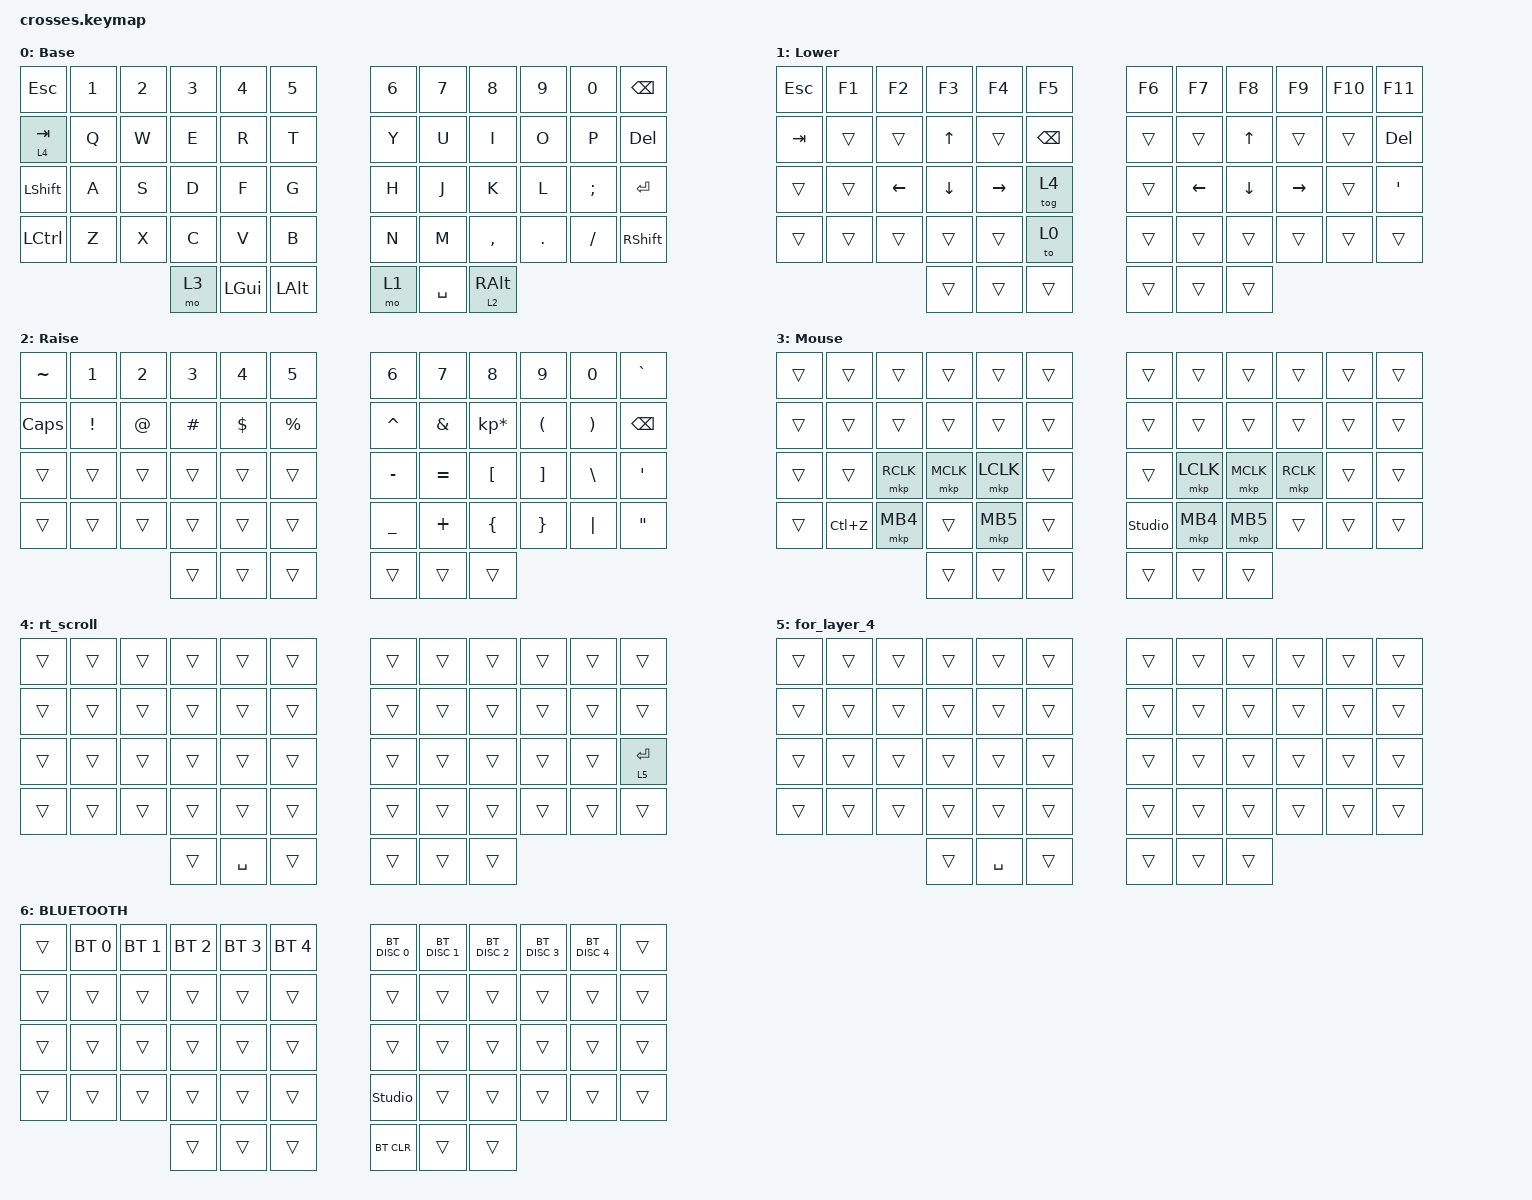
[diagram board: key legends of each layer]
#include <behaviors.dtsi>
#include <dt-bindings/zmk/bt.h>
#include <dt-bindings/zmk/keys.h>
#include <dt-bindings/zmk/pointing.h>

&lt {
    tapping-term-ms = <200>;
    flavor = "balanced";
    quick-tap-ms = <150>;
};

/ {
    chosen { zmk,physical-layout = &gggw_crosses_54_layout; };

    keymap {
        compatible = "zmk,keymap";

        default_layer {
            display-name = "Base";
            bindings = <
&kp ESCAPE  &kp N1  &kp N2  &kp N3  &kp N4        &kp N5        &kp N6  &kp N7     &kp N8           &kp N9   &kp N0    &kp BSPC
&lt 4 TAB   &kp Q   &kp W   &kp E   &kp R         &kp T         &kp Y   &kp U      &kp I            &kp O    &kp P     &kp DEL
&kp LSHFT   &kp A   &kp S   &kp D   &kp F         &kp G         &kp H   &kp J      &kp K            &kp L    &kp SEMI  &kp RET
&kp LCTRL   &kp Z   &kp X   &kp C   &kp V         &kp B         &kp N   &kp M      &kp COMMA        &kp DOT  &kp FSLH  &kp RSHFT
                            &mo 3   &kp LEFT_GUI  &kp LEFT_ALT  &mo 1   &kp SPACE  &lt 2 RIGHT_ALT
            >;
        };

        lower_layer {
            display-name = "Lower";
            bindings = <
&kp ESC  &kp F1  &kp F2    &kp F3    &kp F4     &kp F5         &kp F6  &kp F7    &kp F8    &kp F9     &kp F10  &kp F11
&kp TAB  &trans  &trans    &kp UP    &trans     &kp BACKSPACE  &trans  &trans    &kp UP    &trans     &trans   &kp DEL
&trans   &trans  &kp LEFT  &kp DOWN  &kp RIGHT  &tog 4         &trans  &kp LEFT  &kp DOWN  &kp RIGHT  &trans   &kp SQT
&trans   &trans  &trans    &trans    &trans     &to 0          &trans  &trans    &trans    &trans     &trans   &trans
                           &trans    &trans     &trans         &trans  &trans    &trans
            >;
        };

        raise_layer {
            display-name = "Raise";
            bindings = <
&kp TILDE  &kp N1    &kp N2  &kp N3    &kp N4    &kp N5     &kp N6     &kp N7     &kp N8           &kp N9    &kp N0    &kp GRAVE
&kp CAPS   &kp EXCL  &kp AT  &kp HASH  &kp DLLR  &kp PRCNT  &kp CARET  &kp AMPS   &kp KP_MULTIPLY  &kp LPAR  &kp RPAR  &kp BSPC
&trans     &trans    &trans  &trans    &trans    &trans     &kp MINUS  &kp EQUAL  &kp LBKT         &kp RBKT  &kp BSLH  &kp APOS
&trans     &trans    &trans  &trans    &trans    &trans     &kp UNDER  &kp PLUS   &kp LBRC         &kp RBRC  &kp PIPE  &kp DOUBLE_QUOTES
                             &trans    &trans    &trans     &trans     &trans     &trans
            >;
        };

        mouse_layer {
            display-name = "Mouse";
            bindings = <
&trans  &trans     &trans     &trans     &trans     &trans  &trans          &trans     &trans     &trans     &trans  &trans
&trans  &trans     &trans     &trans     &trans     &trans  &trans          &trans     &trans     &trans     &trans  &trans
&trans  &trans     &mkp RCLK  &mkp MCLK  &mkp LCLK  &trans  &trans          &mkp LCLK  &mkp MCLK  &mkp RCLK  &trans  &trans
&trans  &kp LC(Z)  &mkp MB4   &trans     &mkp MB5   &trans  &studio_unlock  &mkp MB4   &mkp MB5   &trans     &trans  &trans
                              &trans     &trans     &trans  &trans          &trans     &trans
            >;
        };

        rt_scroll {
            display-name = "rt_scroll";
            bindings = <
&trans  &trans  &trans  &trans  &trans     &trans  &trans  &trans  &trans  &trans  &trans  &trans
&trans  &trans  &trans  &trans  &trans     &trans  &trans  &trans  &trans  &trans  &trans  &trans
&trans  &trans  &trans  &trans  &trans     &trans  &trans  &trans  &trans  &trans  &trans  &lt 5 RET
&trans  &trans  &trans  &trans  &trans     &trans  &trans  &trans  &trans  &trans  &trans  &trans
                        &trans  &kp SPACE  &trans  &trans  &trans  &trans
            >;
        };

        temp_base {
            display-name = "for_layer_4";
            bindings = <
&trans  &trans  &trans  &trans  &trans     &trans  &trans  &trans  &trans  &trans  &trans  &trans
&trans  &trans  &trans  &trans  &trans     &trans  &trans  &trans  &trans  &trans  &trans  &trans
&trans  &trans  &trans  &trans  &trans     &trans  &trans  &trans  &trans  &trans  &trans  &trans
&trans  &trans  &trans  &trans  &trans     &trans  &trans  &trans  &trans  &trans  &trans  &trans
                        &trans  &kp SPACE  &trans  &trans  &trans  &trans
            >;
        };

        BLUETOOTH {
            bindings = <
&trans  &bt BT_SEL 0  &bt BT_SEL 1  &bt BT_SEL 2  &bt BT_SEL 3  &bt BT_SEL 4  &bt BT_DISC 0   &bt BT_DISC 1  &bt BT_DISC 2  &bt BT_DISC 3  &bt BT_DISC 4  &trans
&trans  &trans        &trans        &trans        &trans        &trans        &trans          &trans         &trans         &trans         &trans         &trans
&trans  &trans        &trans        &trans        &trans        &trans        &trans          &trans         &trans         &trans         &trans         &trans
&trans  &trans        &trans        &trans        &trans        &trans        &studio_unlock  &trans         &trans         &trans         &trans         &trans
                                    &trans        &trans        &trans        &bt BT_CLR      &trans         &trans
            >;
        };
    };

    conditional_layers {
        compatible = "zmk,conditional-layers";

        Bluetooth {
            if-layers = <3 2>;
            then-layer = <6>;
        };
    };
};
